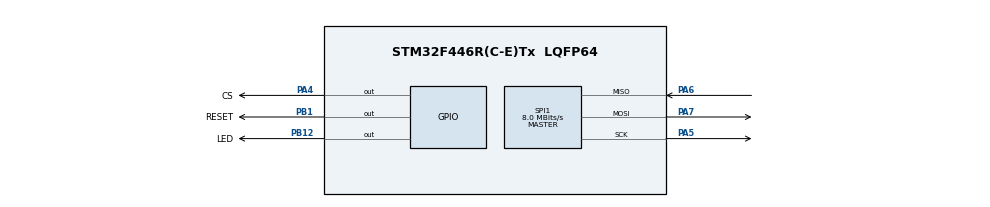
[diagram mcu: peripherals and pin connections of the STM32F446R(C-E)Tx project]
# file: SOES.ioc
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Mcu.Family=STM32F4
Mcu.Name=STM32F446R(C-E)Tx
Mcu.Package=LQFP64
NVIC.PriorityGroup=NVIC_PRIORITYGROUP_4
PA4.GPIO_Label=CS
PA4.Signal=GPIO_Output
PA5.Mode=Full_Duplex_Master
PA5.Signal=SPI1_SCK
PA6.Mode=Full_Duplex_Master
PA6.Signal=SPI1_MISO
PA7.Mode=Full_Duplex_Master
PA7.Signal=SPI1_MOSI
PB1.GPIO_Label=RESET
PB1.Signal=GPIO_Output
PB12.GPIO_Label=LED
PB12.Signal=GPIO_Output
PH0-OSC_IN.Mode=HSE-External-Oscillator
PH0-OSC_IN.Signal=RCC_OSC_IN
PH1-OSC_OUT.Mode=HSE-External-Oscillator
PH1-OSC_OUT.Signal=RCC_OSC_OUT
ProjectManager.HeapSize=0x200
ProjectManager.StackSize=0x400
ProjectManager.TargetToolchain=STM32CubeIDE
RCC.CortexFreq_Value=16000000
RCC.USBFreq_Value=96000000
RCC.VCOOutputFreq_Value=192000000
SPI1.CalculateBaudRate=8.0 MBits/s
SPI1.Direction=SPI_DIRECTION_2LINES
SPI1.Mode=SPI_MODE_MASTER
SPI1.VirtualType=VM_MASTER
board=custom

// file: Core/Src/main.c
/* USER CODE BEGIN Header */
/**
  ******************************************************************************
  * @file           : main.c
  * @brief          : Main program body
  ******************************************************************************
  * @attention
  *
  * Copyright (c) 2025 STMicroelectronics.
  * All rights reserved.
  *
  * This software is licensed under terms that can be found in the LICENSE file
  * in the root directory of this software component.
  * If no LICENSE file comes with this software, it is provided AS-IS.
  *
  ******************************************************************************
  */
/* USER CODE END Header */
#include "main.h"

/* USER CODE BEGIN Includes */
#include "spi.h"
#include "ecat_slv.h"
#include "esc_hw.h"
#include "utypes.h"
/* USER CODE END Includes */

/* USER CODE BEGIN PD */
#define BYTE_TEST_REG    0x0064  // Byte Order Test Register (should read 0x87654321)

// Define LED control commands
#define LED_CMD_OFF     0x00
#define LED_CMD_ON      0x01
#define LED_CMD_TOGGLE  0x02
#define LED_CMD_BLINK   0x03  // For your 1s on/1s off requirement

// Define status bits
#define STATUS_LED_STATE    0x01  // Bit 0: LED current state
#define STATUS_READY        0x02  // Bit 1: Device ready
#define STATUS_ERROR        0x04  // Bit 2: Error flag

// LED state machine
typedef struct {
    uint8_t state;           // Current LED state (on/off)
    uint8_t mode;            // Current mode (off/on/blink)
    uint32_t last_toggle;    // Last toggle time for blink mode
    uint32_t blink_period;   // Blink period in ms
} LED_Control_t;

static LED_Control_t led_ctrl = {
    .state = 0,
    .mode = LED_CMD_OFF,
    .last_toggle = 0,
    .blink_period = 1000  // 1 second
};
/* USER CODE END PD */

SPI_HandleTypeDef hspi1;

void SystemClock_Config(void);
static void MX_GPIO_Init(void);
static void MX_SPI1_Init(void);

/* USER CODE BEGIN 0 */
static esc_cfg_t config = {
    .user_arg = NULL,
    .use_interrupt = 0,  // Set to 1 if you want to use interrupts
    .watchdog_cnt = 150, // Watchdog counter
    .set_defaults_hook = NULL,
    .pre_state_change_hook = NULL,
    .post_state_change_hook = NULL,
    .application_hook = NULL,
    .safeoutput_override = NULL,
    .pre_object_download_hook = NULL,
    .post_object_download_hook = NULL,
    .rxpdo_override = NULL,
    .txpdo_override = NULL,
    .esc_hw_interrupt_enable = NULL,
    .esc_hw_interrupt_disable = NULL,
    .esc_hw_eep_handler = NULL,
    .esc_check_dc_handler = NULL,
};

extern _Objects Obj;

uint8_t LAN9252_WaitForInit(uint32_t timeout_ms)
{
    uint32_t start_tick = HAL_GetTick();
    uint32_t byte_test;

    while ((HAL_GetTick() - start_tick) < timeout_ms)
    {
        byte_test = LAN9252_ReadReg32(BYTE_TEST_REG);

        // Check for correct pattern (0x87654321)
        if (byte_test == 0x87654321)
        {
            return 1;  // Success - device is ready
        }

        HAL_Delay(10);  // Wait a bit before trying again
    }

    return 0;  // Timeout - device not ready
}

void cb_get_inputs (void){
	// Build status byte to send to master
	Obj.TxVar = 0;

	// Bit 0: Current LED state
	if (led_ctrl.state) {
		Obj.TxVar |= STATUS_LED_STATE;
	}

	// Bit 1: Ready flag
	Obj.TxVar |= STATUS_READY;
}

void cb_set_outputs (void){
	uint8_t command = Obj.RxVar;

	// Process command
	switch (command) {
	case LED_CMD_OFF:
		led_ctrl.mode = LED_CMD_OFF;
		led_ctrl.state = 0;
		HAL_GPIO_WritePin(LED_GPIO_Port, LED_Pin, GPIO_PIN_RESET);
		break;

	case LED_CMD_ON:
		led_ctrl.mode = LED_CMD_ON;
		led_ctrl.state = 1;
		HAL_GPIO_WritePin(LED_GPIO_Port, LED_Pin, GPIO_PIN_SET);
		break;

	case LED_CMD_TOGGLE:
		led_ctrl.state = !led_ctrl.state;
		HAL_GPIO_WritePin(LED_GPIO_Port, LED_Pin,
				led_ctrl.state ? GPIO_PIN_SET : GPIO_PIN_RESET);
		break;

	case LED_CMD_BLINK:
		led_ctrl.mode = LED_CMD_BLINK;
		led_ctrl.last_toggle = HAL_GetTick();
		break;

	default:
		// Unknown command - ignore or set error flag
		break;
	}
}

void LED_Process(void)
{
    if (led_ctrl.mode == LED_CMD_BLINK) {
        uint32_t now = HAL_GetTick();

        // Check if it's time to toggle (1 second elapsed)
        if ((now - led_ctrl.last_toggle) >= led_ctrl.blink_period) {
            led_ctrl.state = !led_ctrl.state;
            led_ctrl.last_toggle = now;

            HAL_GPIO_WritePin(LED_GPIO_Port, LED_Pin,
                            led_ctrl.state ? GPIO_PIN_SET : GPIO_PIN_RESET);
        }
    }
}
/* USER CODE END 0 */

int main(void)
{

  /* MCU Configuration--------------------------------------------------------*/

  /* Reset of all peripherals, Initializes the Flash interface and the Systick. */
  HAL_Init();

  /* Configure the system clock */

  SystemClock_Config();

  /* Initialize all configured peripherals */
  MX_GPIO_Init();
  MX_SPI1_Init();
  /* USER CODE BEGIN 2 */
  LAN9252_Reset();

  // Initialize object dictionary with default values
  Obj.serial = 0;  // Your device serial number
  Obj.TxVar = 0;
  Obj.RxVar = 0;

  // Initialize EtherCAT slave stack
  ecat_slv_init(&config);
//  test_manual_state_change();

  /* USER CODE END 2 */

  /* Infinite loop */
  while (1)
  {
	  ecat_slv();
	  LED_Process();
  }
}

void SystemClock_Config(void)
{
  RCC_OscInitTypeDef RCC_OscInitStruct = {0};
  RCC_ClkInitTypeDef RCC_ClkInitStruct = {0};

  /** Configure the main internal regulator output voltage
  */
  __HAL_RCC_PWR_CLK_ENABLE();
  __HAL_PWR_VOLTAGESCALING_CONFIG(PWR_REGULATOR_VOLTAGE_SCALE3);

  /** Initializes the RCC Oscillators according to the specified parameters
  * in the RCC_OscInitTypeDef structure.
  */
  RCC_OscInitStruct.OscillatorType = RCC_OSCILLATORTYPE_HSI;
  RCC_OscInitStruct.HSIState = RCC_HSI_ON;
  RCC_OscInitStruct.HSICalibrationValue = RCC_HSICALIBRATION_DEFAULT;
  RCC_OscInitStruct.PLL.PLLState = RCC_PLL_NONE;
  if (HAL_RCC_OscConfig(&RCC_OscInitStruct) != HAL_OK)
  {
    Error_Handler();
  }

  /** Initializes the CPU, AHB and APB buses clocks
  */
  RCC_ClkInitStruct.ClockType = RCC_CLOCKTYPE_HCLK|RCC_CLOCKTYPE_SYSCLK
                              |RCC_CLOCKTYPE_PCLK1|RCC_CLOCKTYPE_PCLK2;
  RCC_ClkInitStruct.SYSCLKSource = RCC_SYSCLKSOURCE_HSI;
  RCC_ClkInitStruct.AHBCLKDivider = RCC_SYSCLK_DIV1;
  RCC_ClkInitStruct.APB1CLKDivider = RCC_HCLK_DIV1;
  RCC_ClkInitStruct.APB2CLKDivider = RCC_HCLK_DIV1;

  if (HAL_RCC_ClockConfig(&RCC_ClkInitStruct, FLASH_LATENCY_0) != HAL_OK)
  {
    Error_Handler();
  }
}

static void MX_SPI1_Init(void)
{

  /* SPI1 parameter configuration*/
  hspi1.Instance = SPI1;
  hspi1.Init.Mode = SPI_MODE_MASTER;
  hspi1.Init.Direction = SPI_DIRECTION_2LINES;
  hspi1.Init.DataSize = SPI_DATASIZE_8BIT;
  hspi1.Init.CLKPolarity = SPI_POLARITY_LOW;
  hspi1.Init.CLKPhase = SPI_PHASE_1EDGE;
  hspi1.Init.NSS = SPI_NSS_SOFT;
  hspi1.Init.BaudRatePrescaler = SPI_BAUDRATEPRESCALER_2;
  hspi1.Init.FirstBit = SPI_FIRSTBIT_MSB;
  hspi1.Init.TIMode = SPI_TIMODE_DISABLE;
  hspi1.Init.CRCCalculation = SPI_CRCCALCULATION_DISABLE;
  hspi1.Init.CRCPolynomial = 10;
  if (HAL_SPI_Init(&hspi1) != HAL_OK)
  {
    Error_Handler();
  }

}

static void MX_GPIO_Init(void)
{
  GPIO_InitTypeDef GPIO_InitStruct = {0};

  /* GPIO Ports Clock Enable */
  __HAL_RCC_GPIOH_CLK_ENABLE();
  __HAL_RCC_GPIOA_CLK_ENABLE();
  __HAL_RCC_GPIOB_CLK_ENABLE();

  /*Configure GPIO pin Output Level */
  HAL_GPIO_WritePin(CS_GPIO_Port, CS_Pin, GPIO_PIN_RESET);

  /*Configure GPIO pin Output Level */
  HAL_GPIO_WritePin(GPIOB, RESET_Pin|LED_Pin, GPIO_PIN_RESET);

  /*Configure GPIO pin : CS_Pin */
  GPIO_InitStruct.Pin = CS_Pin;
  GPIO_InitStruct.Mode = GPIO_MODE_OUTPUT_PP;
  GPIO_InitStruct.Pull = GPIO_NOPULL;
  GPIO_InitStruct.Speed = GPIO_SPEED_FREQ_LOW;
  HAL_GPIO_Init(CS_GPIO_Port, &GPIO_InitStruct);

  /*Configure GPIO pins : RESET_Pin LED_Pin */
  GPIO_InitStruct.Pin = RESET_Pin|LED_Pin;
  GPIO_InitStruct.Mode = GPIO_MODE_OUTPUT_PP;
  GPIO_InitStruct.Pull = GPIO_NOPULL;
  GPIO_InitStruct.Speed = GPIO_SPEED_FREQ_LOW;
  HAL_GPIO_Init(GPIOB, &GPIO_InitStruct);

}

void Error_Handler(void)
{
  __disable_irq();
  while (1)
  {
  }
}
